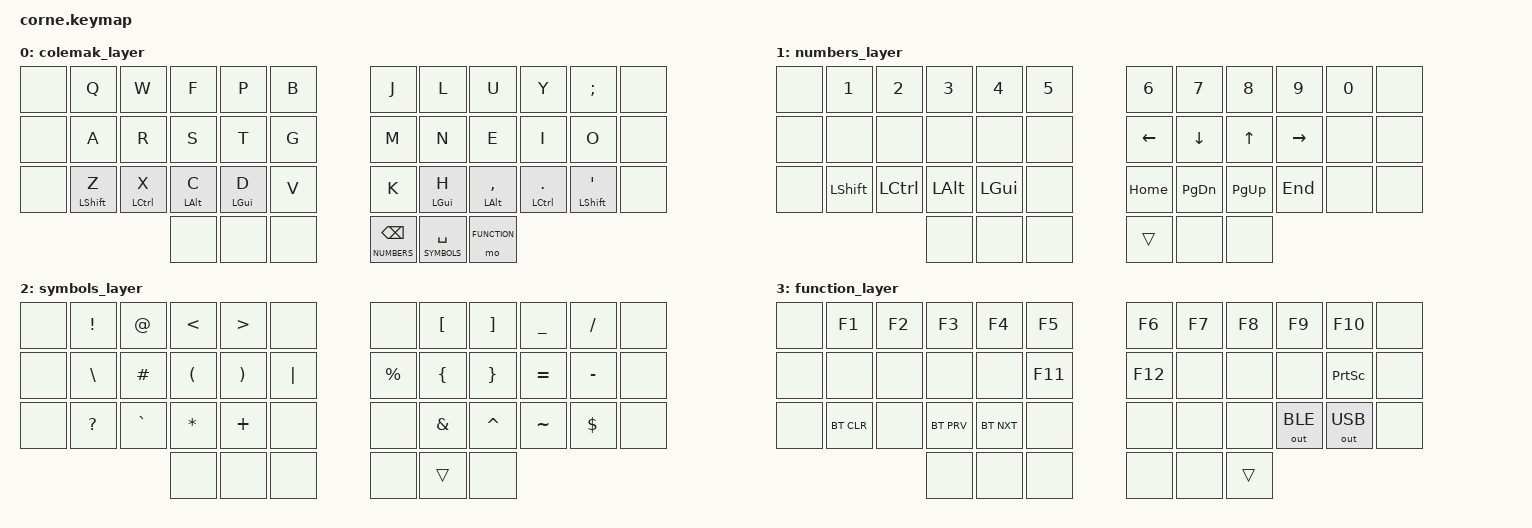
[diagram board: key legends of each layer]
/*
 * Copyright (c) 2020 The ZMK Contributors
 *
 * SPDX-License-Identifier: MIT
 */

#include <behaviors.dtsi>
#include <dt-bindings/zmk/keys.h>
#include <dt-bindings/zmk/bt.h>
#include <dt-bindings/zmk/outputs.h>

#define COLEMAK 0
#define NUMBERS 1
#define SYMBOLS 2
#define FUNCTION 3

&lt {
        retro-tap;
};
&kscan0 {
    debounce-period = <10>;
};

/ {
        behaviors {
                hm: homerow_mods {
                compatible = "zmk,behavior-hold-tap";
                label = "HOMEROW_MODS";
                #binding-cells = <2>;
                tapping-term-ms = <175>;
                flavor = "tap-preferred";
                bindings = <&kp>, <&kp>;
                };
        };

//-------------------------------------------------------------
// 3x5 key indices for combo mapping
// |  1 |  2 |  3 |  4 |  5 |        |  6 |  7 |  8 |  9 | 10 | 
// | 13 | 14 | 15 | 16 | 17 |        | 18 | 19 | 20 | 21 | 22 |
// | 25 | 26 | 27 | 28 | 29 |        | 30 | 31 | 32 | 33 | 34 | 
//              | 36 | 37 | 38 |   | 39 | 40 | 41 |
//------------------------------------------------------------- 

        combos {
                compatible = "zmk,combos";
                combo_esc {
                        timeout-ms = <50>;
                        key-positions = <13 14>;
                        bindings = <&kp ESC>;
                };
                combo_ins {
                        timeout-ms = <50>;
                        key-positions = <7 8>;
                        bindings = <&kp INS>;                
                };
                combo_del {
                        timeout-ms = <50>;
                        key-positions = <9 10>;
                        bindings = <&kp DEL>;                
                };
                combo_caps {
                        timeout-ms = <50>;
                        key-positions = <25 34>;
                        bindings = <&kp CAPS>;
                        layers = <0>;
                };
                combo_enter {
                        timeout-ms = <50>;
                        key-positions = <21 22>;
                        bindings = <&kp RET>;
                        layers = <0>;
                };
                combo_tab {
                        timeout-ms = <50>;
                        key-positions = <1 2>;
                        bindings = <&kp TAB>;
                        layers = <0>;
                };
                combo_rctrl {
                        timeout-ms = <50>;
                        key-positions = <26 33>;
                        bindings = <&kp RCTRL>;
                        layers = <0>;
                };
                combo_ralt {
                        timeout-ms = <50>;
                        key-positions = <27 32>;
                        bindings = <&kp RALT>;
                        layers = <0>;
                };
        };

        keymap {
                compatible = "zmk,keymap";

                colemak_layer {
                        bindings = <
   &none &kp Q &kp W &kp F &kp P &kp B                          &kp J &kp L &kp U &kp Y &kp SEMI &none
   &none &kp A &kp R &kp S &kp T &kp G                          &kp M &kp N &kp E &kp I &kp O &none
   &none &hm LSHFT Z &hm LCTRL X &hm LALT C &hm LGUI D &kp V    &kp K &hm LGUI H &hm LALT COMMA &hm LCTRL DOT &hm LSHFT SQT &none
                  &none &none &none                             &lt NUMBERS BSPC &lt SYMBOLS SPACE &mo FUNCTION
                        >;
                };

                numbers_layer {
                        bindings = <
   &none &kp N1   &kp N2   &kp N3    &kp N4    &kp N5     &kp N6   &kp N7    &kp N8    &kp N9    &kp N0 &none
   &none &none    &none &none &none &none                    &kp LEFT &kp DOWN  &kp UP    &kp RIGHT &none  &none
   &none &kp LSHFT &kp LCTRL &kp LALT &kp LGUI     &none      &kp HOME &kp PG_DN &kp PG_UP &kp END   &none  &none
                         &none     &none       &none        &trans &none &none
                        >;
                };

                symbols_layer {
                        bindings = <
   &none &kp EXCL  &kp AT    &kp LT   &kp GT   &none     &none     &kp LBKT &kp RBKT  &kp UNDER &kp SLASH  &none
   &none &kp BSLH  &kp POUND &kp LPAR &kp RPAR &kp PIPE  &kp PRCNT &kp LBRC &kp RBRC  &kp EQUAL &kp MINUS  &none
   &none &kp QMARK &kp GRAVE &kp STAR &kp PLUS &none     &none     &kp AMPS &kp CARET &kp TILDE &kp DOLLAR &none
                        &none &none &none  &none &trans &none
                        >;
                };

                function_layer {
                        bindings = <
   &none &kp F1   &kp F2   &kp F3    &kp F4    &kp F5  &kp F6  &kp F7    &kp F8    &kp F9   &kp F10  &none
   &none &none &none &none &none     &kp F11   &kp F12 &none   &none     &none     &kp PSCRN  &none 
   &none &bt BT_CLR    &none &bt BT_PRV     &bt BT_NXT      &none   &none   &none     &none     &out OUT_BLE &out OUT_USB    &none
                        &none &none &none &none &none &trans
                        >;
                };
        };
};
